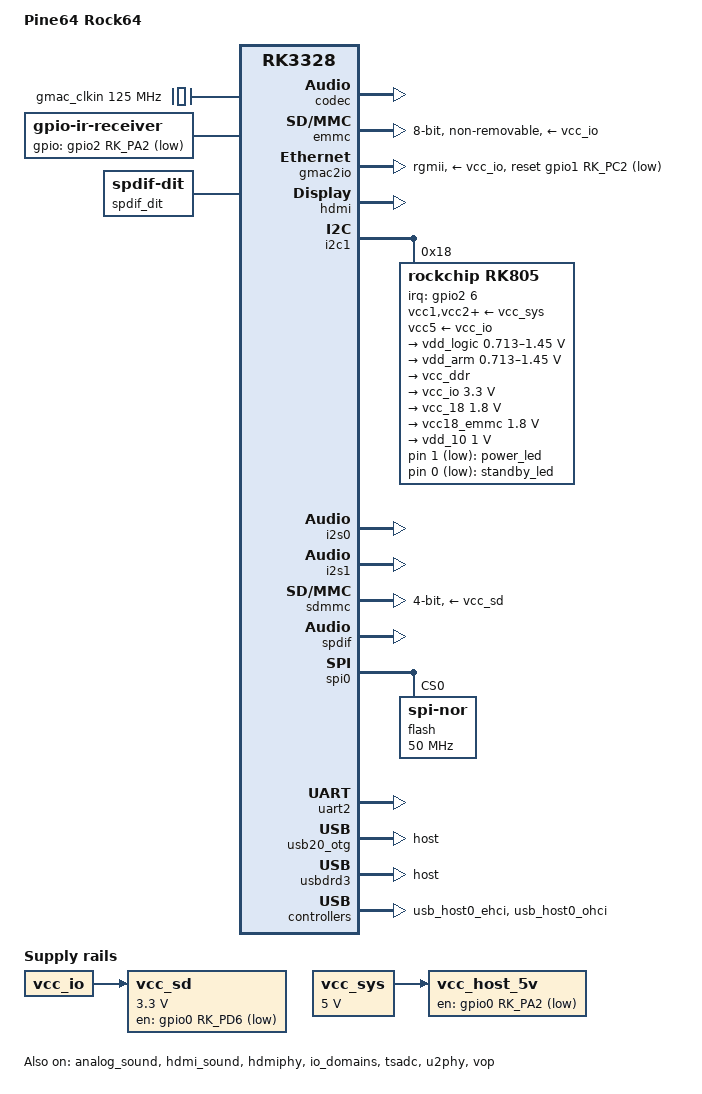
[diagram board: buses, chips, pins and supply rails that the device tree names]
// SPDX-License-Identifier: (GPL-2.0+ OR MIT)
/*
 * Copyright (c) 2017 PINE64
 */

/dts-v1/;
#include "rk3328.dtsi"

/ {
	model = "Pine64 Rock64";
	compatible = "pine64,rock64", "rockchip,rk3328";

	aliases {
		ethernet0 = &gmac2io;
		mmc0 = &sdmmc;
		mmc1 = &emmc;
	};

	chosen {
		stdout-path = "serial2:1500000n8";
	};

	gmac_clkin: external-gmac-clock {
		compatible = "fixed-clock";
		clock-frequency = <125000000>;
		clock-output-names = "gmac_clkin";
		#clock-cells = <0>;
	};

	vcc_sd: sdmmc-regulator {
		compatible = "regulator-fixed";
		gpio = <&gpio0 RK_PD6 GPIO_ACTIVE_LOW>;
		pinctrl-names = "default";
		pinctrl-0 = <&sdmmc0m1_pin>;
		regulator-name = "vcc_sd";
		regulator-min-microvolt = <3300000>;
		regulator-max-microvolt = <3300000>;
		vin-supply = <&vcc_io>;
	};

	/* Common enable line for all of the rails mentioned in the labels */
	vcc_host_5v: vcc_host1_5v: vcc_otg_5v: vcc-host-5v-regulator {
		compatible = "regulator-fixed";
		gpio = <&gpio0 RK_PA2 GPIO_ACTIVE_LOW>;
		pinctrl-names = "default";
		pinctrl-0 = <&usb20_host_drv>;
		regulator-name = "vcc_host_5v";
		regulator-always-on;
		regulator-boot-on;
		vin-supply = <&vcc_sys>;
	};

	vcc_sys: vcc-sys {
		compatible = "regulator-fixed";
		regulator-name = "vcc_sys";
		regulator-always-on;
		regulator-boot-on;
		regulator-min-microvolt = <5000000>;
		regulator-max-microvolt = <5000000>;
	};

	ir-receiver {
		compatible = "gpio-ir-receiver";
		gpios = <&gpio2 RK_PA2 GPIO_ACTIVE_LOW>;
		pinctrl-0 = <&ir_int>;
		pinctrl-names = "default";
	};

	leds {
		compatible = "gpio-leds";

		power_led: led-0 {
			gpios = <&rk805 1 GPIO_ACTIVE_LOW>;
			linux,default-trigger = "mmc0";
		};

		standby_led: led-1 {
			gpios = <&rk805 0 GPIO_ACTIVE_LOW>;
			linux,default-trigger = "heartbeat";
		};
	};

	spdif_sound: spdif-sound {
		compatible = "simple-audio-card";
		simple-audio-card,name = "SPDIF";

		simple-audio-card,cpu {
			sound-dai = <&spdif>;
		};

		simple-audio-card,codec {
			sound-dai = <&spdif_dit>;
		};
	};

	spdif_dit: spdif-dit {
		compatible = "linux,spdif-dit";
		#sound-dai-cells = <0>;
	};
};

&analog_sound {
	status = "okay";
};

&codec {
	mute-gpios = <&grf_gpio 0 GPIO_ACTIVE_LOW>;
	status = "okay";
};

&cpu0 {
	cpu-supply = <&vdd_arm>;
};

&cpu1 {
	cpu-supply = <&vdd_arm>;
};

&cpu2 {
	cpu-supply = <&vdd_arm>;
};

&cpu3 {
	cpu-supply = <&vdd_arm>;
};

&emmc {
	bus-width = <8>;
	cap-mmc-highspeed;
	mmc-hs200-1_8v;
	non-removable;
	pinctrl-names = "default";
	pinctrl-0 = <&emmc_clk &emmc_cmd &emmc_bus8>;
	vmmc-supply = <&vcc_io>;
	vqmmc-supply = <&vcc18_emmc>;
	status = "okay";
};

&gmac2io {
	assigned-clocks = <&cru SCLK_MAC2IO>, <&cru SCLK_MAC2IO_EXT>;
	assigned-clock-parents = <&gmac_clkin>, <&gmac_clkin>;
	clock_in_out = "input";
	phy-supply = <&vcc_io>;
	phy-mode = "rgmii";
	pinctrl-names = "default";
	pinctrl-0 = <&rgmiim1_pins>;
	snps,force_thresh_dma_mode;
	snps,reset-gpio = <&gpio1 RK_PC2 GPIO_ACTIVE_LOW>;
	snps,reset-active-low;
	snps,reset-delays-us = <0 10000 50000>;
	tx_delay = <0x24>;
	rx_delay = <0x18>;
	status = "okay";
};

&hdmi {
	avdd-0v9-supply = <&vdd_10>;
	avdd-1v8-supply = <&vcc_18>;
	status = "okay";
};

&hdmi_sound {
	status = "okay";
};

&hdmiphy {
	status = "okay";
};

&i2c1 {
	status = "okay";

	rk805: pmic@18 {
		compatible = "rockchip,rk805";
		reg = <0x18>;
		interrupt-parent = <&gpio2>;
		interrupts = <6 IRQ_TYPE_LEVEL_LOW>;
		#clock-cells = <1>;
		clock-output-names = "xin32k", "rk805-clkout2";
		gpio-controller;
		#gpio-cells = <2>;
		pinctrl-names = "default";
		pinctrl-0 = <&pmic_int_l>;
		rockchip,system-power-controller;
		wakeup-source;

		vcc1-supply = <&vcc_sys>;
		vcc2-supply = <&vcc_sys>;
		vcc3-supply = <&vcc_sys>;
		vcc4-supply = <&vcc_sys>;
		vcc5-supply = <&vcc_io>;
		vcc6-supply = <&vcc_sys>;

		regulators {
			vdd_logic: DCDC_REG1 {
				regulator-name = "vdd_logic";
				regulator-min-microvolt = <712500>;
				regulator-max-microvolt = <1450000>;
				regulator-ramp-delay = <12500>;
				regulator-always-on;
				regulator-boot-on;
				regulator-state-mem {
					regulator-on-in-suspend;
					regulator-suspend-microvolt = <1000000>;
				};
			};

			vdd_arm: DCDC_REG2 {
				regulator-name = "vdd_arm";
				regulator-min-microvolt = <712500>;
				regulator-max-microvolt = <1450000>;
				regulator-ramp-delay = <12500>;
				regulator-always-on;
				regulator-boot-on;
				regulator-state-mem {
					regulator-on-in-suspend;
					regulator-suspend-microvolt = <950000>;
				};
			};

			vcc_ddr: DCDC_REG3 {
				regulator-name = "vcc_ddr";
				regulator-always-on;
				regulator-boot-on;
				regulator-state-mem {
					regulator-on-in-suspend;
				};
			};

			vcc_io: DCDC_REG4 {
				regulator-name = "vcc_io";
				regulator-min-microvolt = <3300000>;
				regulator-max-microvolt = <3300000>;
				regulator-always-on;
				regulator-boot-on;
				regulator-state-mem {
					regulator-on-in-suspend;
					regulator-suspend-microvolt = <3300000>;
				};
			};

			vcc_18: LDO_REG1 {
				regulator-name = "vcc_18";
				regulator-min-microvolt = <1800000>;
				regulator-max-microvolt = <1800000>;
				regulator-always-on;
				regulator-boot-on;
				regulator-state-mem {
					regulator-on-in-suspend;
					regulator-suspend-microvolt = <1800000>;
				};
			};

			vcc18_emmc: LDO_REG2 {
				regulator-name = "vcc18_emmc";
				regulator-min-microvolt = <1800000>;
				regulator-max-microvolt = <1800000>;
				regulator-always-on;
				regulator-boot-on;
				regulator-state-mem {
					regulator-on-in-suspend;
					regulator-suspend-microvolt = <1800000>;
				};
			};

			vdd_10: LDO_REG3 {
				regulator-name = "vdd_10";
				regulator-min-microvolt = <1000000>;
				regulator-max-microvolt = <1000000>;
				regulator-always-on;
				regulator-boot-on;
				regulator-state-mem {
					regulator-on-in-suspend;
					regulator-suspend-microvolt = <1000000>;
				};
			};
		};
	};
};

&i2s0 {
	status = "okay";
};

&i2s1 {
	status = "okay";
};

&io_domains {
	status = "okay";

	vccio1-supply = <&vcc_io>;
	vccio2-supply = <&vcc18_emmc>;
	vccio3-supply = <&vcc_io>;
	vccio4-supply = <&vcc_18>;
	vccio5-supply = <&vcc_io>;
	vccio6-supply = <&vcc_io>;
	pmuio-supply = <&vcc_io>;
};

&pinctrl {
	ir {
		ir_int: ir-int {
			rockchip,pins = <2 RK_PA2 RK_FUNC_GPIO &pcfg_pull_none>;
		};
	};

	pmic {
		pmic_int_l: pmic-int-l {
			rockchip,pins = <2 RK_PA6 RK_FUNC_GPIO &pcfg_pull_up>;
		};
	};

	usb2 {
		usb20_host_drv: usb20-host-drv {
			rockchip,pins = <0 RK_PA2 RK_FUNC_GPIO &pcfg_pull_none>;
		};
	};
};

&sdmmc {
	bus-width = <4>;
	cap-mmc-highspeed;
	cap-sd-highspeed;
	disable-wp;
	max-frequency = <150000000>;
	pinctrl-names = "default";
	pinctrl-0 = <&sdmmc0_clk &sdmmc0_cmd &sdmmc0_dectn &sdmmc0_bus4>;
	vmmc-supply = <&vcc_sd>;
	status = "okay";
};

&spdif {
	pinctrl-0 = <&spdifm0_tx>;
	status = "okay";
};

&spi0 {
	status = "okay";

	flash@0 {
		compatible = "jedec,spi-nor";
		reg = <0>;

		/* maximum speed for Rockchip SPI */
		spi-max-frequency = <50000000>;
	};
};

&tsadc {
	rockchip,hw-tshut-mode = <0>;
	rockchip,hw-tshut-polarity = <0>;
	status = "okay";
};

&uart2 {
	status = "okay";
};

&u2phy {
	status = "okay";

	u2phy_host: host-port {
		status = "okay";
	};

	u2phy_otg: otg-port {
		status = "okay";
	};
};

&usb20_otg {
	dr_mode = "host";
	status = "okay";
};

&usbdrd3 {
	dr_mode = "host";
	status = "okay";
};

&usb_host0_ehci {
	status = "okay";
};

&usb_host0_ohci {
	status = "okay";
};

&vop {
	status = "okay";
};

&vop_mmu {
	status = "okay";
};
